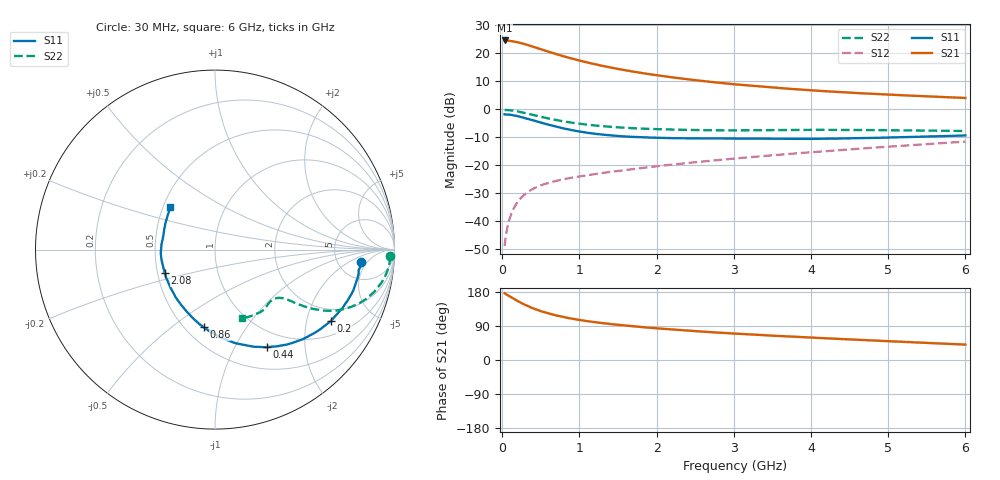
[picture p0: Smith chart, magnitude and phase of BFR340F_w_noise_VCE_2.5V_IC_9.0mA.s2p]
! Infineon Technologies  Discrete & RF Semiconductors
! BFR340F
! VCE =  2.5 V,  IC =  9.0 mA
! Common Emitter S-Parameters:  Nov 2015
# GHz  S  MA  R  50
!  f  S11  S21  S12  S22
! GHz  MAG  ANG  MAG  ANG  MAG  ANG  MAG  ANG
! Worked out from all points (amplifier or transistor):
!   206 points, 30 MHz to 6 GHz, reference 50 ohm
!   highest |S21| = 24.6 dB at 30 MHz (marker M1)
!   |S21| within 3 dB of that: start of sweep to 483.7 MHz
!   unconditionally stable (mu >= 1): 2.045 GHz to 5.19 GHz
!   at 200 MHz: K = 0.19, MSG = 28.5 dB, |S12| = -33.0 dB
!   at 1.56 GHz: K = 0.91, MSG = 18.0 dB, |S12| = -21.8 dB
!   at 6 GHz: K = 0.96, MSG = 7.8 dB, |S12| = -11.5 dB
!   lowest NFmin = 1.39 dB at 450 MHz
!   S11 on the Smith chart (normalised r, x): 30 MHz: 8.45, -3.46; 200 MHz: 1.49, -2.79; 440 MHz: 0.78, -1.36; 860 MHz: 0.61, -0.66; 2.08 GHz: 0.55, -0.16; 6 GHz: 0.55, +0.29
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0.03  0.8163 -4.8  17.05 176.3  0.0036 88.4  0.9777 -2.2
0.05  0.8089 -8.2  16.92 173.1  0.0059 85.6  0.9759 -3.8
0.09  0.8044 -15.0  16.82 168.6  0.0107 82.5  0.9679 -7.0
0.15  0.7822 -24.4  16.32 161.1  0.0173 78.1  0.9445 -11.4
0.2  0.758 -31.8  15.83 155.4  0.0224 74.7  0.9189 -14.7
0.26  0.7226 -40.1  15.08 149.0  0.0278 71.0  0.8832 -18.3
0.3  0.6993 -45.5  14.54 145.0  0.0311 69.0  0.8581 -20.4
0.36  0.6625 -53.0  13.71 139.6  0.0356 66.2  0.82 -23.0
0.44  0.615 -62.0  12.63 133.2  0.0406 63.4  0.7715 -25.8
0.6  0.5327 -77.9  10.72 122.6  0.0488 59.7  0.6865 -29.6
0.7  0.4904 -86.4  9.707 117.4  0.053 58.6  0.6439 -31.0
0.86  0.4372 -98.2  8.387 110.6  0.0589 57.8  0.5905 -32.4
1.04  0.394 -110.0  7.23 104.5  0.0649 57.8  0.5456 -33.5
1.2  0.3668 -119.3  6.41 99.8  0.0701 58.2  0.5153 -34.0
1.4  0.3444 -129.4  5.609 94.9  0.0765 59.0  0.4878 -34.7
1.7  0.3224 -142.2  4.72 88.7  0.0862 60.5  0.4606 -35.9
2.02  0.3108 -152.9  4.042 83.3  0.0969 62.0  0.4431 -37.3
2.08  0.309 -154.7  3.938 82.4  0.099 62.3  0.4408 -37.6
3.1  0.3013 -178.6  2.742 68.8  0.136 65.4  0.4225 -44.5
4.1  0.2981 164.6  2.148 58.2  0.1759 66.5  0.4313 -51.1
5.1  0.3161 149.6  1.811 48.7  0.2203 66.3  0.4235 -59.7
6  0.3426 136.4  1.602 40.7  0.2655 64.9  0.4108 -68.6
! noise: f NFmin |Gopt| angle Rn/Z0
0.45  1.39  0.29  0  0.28
0.9  1.47  0.28  10  0.31
1.9  1.87  0.14  0  0.29
2.4  2.1  0.08  -1  0.3
